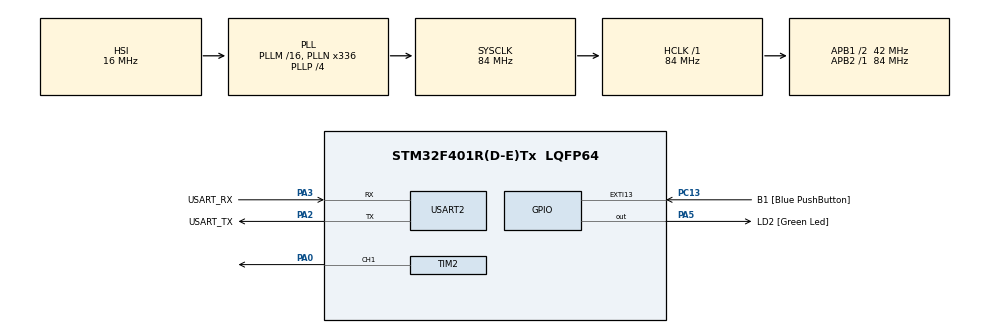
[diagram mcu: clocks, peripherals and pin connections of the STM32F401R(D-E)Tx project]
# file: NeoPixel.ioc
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Dma.Request0=TIM2_CH1
Dma.TIM2_CH1.0.Direction=DMA_MEMORY_TO_PERIPH
Dma.TIM2_CH1.0.FIFOMode=DMA_FIFOMODE_DISABLE
Dma.TIM2_CH1.0.Instance=DMA1_Stream5
Dma.TIM2_CH1.0.MemDataAlignment=DMA_MDATAALIGN_WORD
Dma.TIM2_CH1.0.MemInc=DMA_MINC_ENABLE
Dma.TIM2_CH1.0.Mode=DMA_NORMAL
Dma.TIM2_CH1.0.PeriphDataAlignment=DMA_PDATAALIGN_WORD
Dma.TIM2_CH1.0.PeriphInc=DMA_PINC_DISABLE
Dma.TIM2_CH1.0.Priority=DMA_PRIORITY_HIGH
Mcu.Family=STM32F4
Mcu.Name=STM32F401R(D-E)Tx
Mcu.Package=LQFP64
NVIC.DMA1_Stream5_IRQn=true\:0\:0\:false\:false\:true\:false\:true
NVIC.PriorityGroup=NVIC_PRIORITYGROUP_0
PA0-WKUP.Signal=S_TIM2_CH1_ETR
PA13.GPIO_Label=TMS
PA13.Mode=Serial_Wire
PA13.Signal=SYS_JTMS-SWDIO
PA14.GPIO_Label=TCK
PA14.Mode=Serial_Wire
PA14.Signal=SYS_JTCK-SWCLK
PA2.GPIO_Label=USART_TX
PA2.GPIO_Mode=GPIO_MODE_AF_PP
PA2.GPIO_PuPd=GPIO_NOPULL
PA2.GPIO_Speed=GPIO_SPEED_FREQ_LOW
PA2.Mode=Asynchronous
PA2.Signal=USART2_TX
PA3.GPIO_Label=USART_RX
PA3.GPIO_Mode=GPIO_MODE_AF_PP
PA3.GPIO_PuPd=GPIO_NOPULL
PA3.GPIO_Speed=GPIO_SPEED_FREQ_LOW
PA3.Mode=Asynchronous
PA3.Signal=USART2_RX
PA5.GPIO_Label=LD2 [Green Led]
PA5.GPIO_Mode=GPIO_MODE_OUTPUT_PP
PA5.GPIO_PuPd=GPIO_NOPULL
PA5.GPIO_Speed=GPIO_SPEED_FREQ_LOW
PA5.Signal=GPIO_Output
PB3.GPIO_Label=SWO
PB3.Signal=SYS_JTDO-SWO
PC13-ANTI_TAMP.GPIO_Label=B1 [Blue PushButton]
PC13-ANTI_TAMP.GPIO_ModeDefaultEXTI=GPIO_MODE_IT_FALLING
PC13-ANTI_TAMP.GPIO_PuPd=GPIO_NOPULL
PC13-ANTI_TAMP.Signal=GPXTI13
PC14-OSC32_IN.Mode=LSE-External-Oscillator
PC14-OSC32_IN.Signal=RCC_OSC32_IN
PC15-OSC32_OUT.Mode=LSE-External-Oscillator
PC15-OSC32_OUT.Signal=RCC_OSC32_OUT
PH0\ -\ OSC_IN.Mode=HSE-External-Clock-Source
PH0\ -\ OSC_IN.Signal=RCC_OSC_IN
PH1\ -\ OSC_OUT.Mode=HSE-External-Clock-Source
PH1\ -\ OSC_OUT.Signal=RCC_OSC_OUT
ProjectManager.HeapSize=0x200
ProjectManager.StackSize=0x400
ProjectManager.TargetToolchain=STM32CubeIDE
RCC.48MHZClocksFreq_Value=48000000
RCC.AHBFreq_Value=84000000
RCC.APB1CLKDivider=RCC_HCLK_DIV2
RCC.APB1Freq_Value=42000000
RCC.APB1TimFreq_Value=84000000
RCC.APB2Freq_Value=84000000
RCC.APB2TimFreq_Value=84000000
RCC.CortexFreq_Value=84000000
RCC.HCLKFreq_Value=84000000
RCC.HSE_VALUE=8000000
RCC.HSI_VALUE=16000000
RCC.PLLN=336
RCC.PLLP=RCC_PLLP_DIV4
RCC.PLLQ=7
RCC.SYSCLKFreq_VALUE=84000000
RCC.SYSCLKSource=RCC_SYSCLKSOURCE_PLLCLK
RCC.VCOOutputFreq_Value=336000000
SH.S_TIM2_CH1_ETR.0=TIM2_CH1,PWM Generation1 CH1
TIM2.Channel-PWM\ Generation1\ CH1=TIM_CHANNEL_1
TIM2.Period=105-1
USART2.VirtualMode=VM_ASYNC
board=NUCLEO-F401RE

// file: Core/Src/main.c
/* USER CODE BEGIN Header */
/**
  ******************************************************************************
  * @file           : main.c
  * @brief          : Main program body
  ******************************************************************************
  * @attention
  *
  * <h2><center>&copy; Copyright (c) 2021 STMicroelectronics.
  * All rights reserved.</center></h2>
  *
  * This software component is licensed by ST under BSD 3-Clause license,
  * the "License"; You may not use this file except in compliance with the
  * License. You may obtain a copy of the License at:
  *                        opensource.org/licenses/BSD-3-Clause
  *
  ******************************************************************************
  */
/* USER CODE END Header */
#include "main.h"

/* USER CODE BEGIN Includes */
#include "neoPixel.h"
/* USER CODE END Includes */

TIM_HandleTypeDef htim2;
DMA_HandleTypeDef hdma_tim2_ch1;

UART_HandleTypeDef huart2;

void SystemClock_Config(void);
static void MX_GPIO_Init(void);
static void MX_DMA_Init(void);
static void MX_USART2_UART_Init(void);
static void MX_TIM2_Init(void);
/* USER CODE BEGIN PFP */
uint32_t hsl_to_rgb(uint8_t h, uint8_t s, uint8_t l);
/* USER CODE END PFP */

int main(void)
{

  /* MCU Configuration--------------------------------------------------------*/

  /* Reset of all peripherals, Initializes the Flash interface and the Systick. */
  HAL_Init();

  /* Configure the system clock */
  SystemClock_Config();

  /* Initialize all configured peripherals */
  MX_GPIO_Init();
  MX_DMA_Init();
  MX_USART2_UART_Init();
  MX_TIM2_Init();
  /* USER CODE BEGIN 2 */
  set_RGB(1,255,0,255);
  /* USER CODE END 2 */

  /* Infinite loop */
  /* USER CODE BEGIN WHILE */
  uint8_t angle = 0;
  const uint8_t angle_difference = 11;

  while (1)
  {
    /* USER CODE END WHILE */

    /* USER CODE BEGIN 3 */
	for(uint8_t i = 0; i < 3; i++) {
		// Calculate color
		uint32_t rgb_color = hsl_to_rgb(angle + (i * angle_difference), 255, 127);
		// Set color
		set_RGB(i, (rgb_color >> 16) & 0xFF, (rgb_color >> 8) & 0xFF, rgb_color & 0xFF);
	}
	// Write to LED
	++angle;
	renderPixels();
	// Some delay
	HAL_Delay(10);
  }
  /* USER CODE END 3 */
}

void SystemClock_Config(void)
{
  RCC_OscInitTypeDef RCC_OscInitStruct = {0};
  RCC_ClkInitTypeDef RCC_ClkInitStruct = {0};

  /** Configure the main internal regulator output voltage
  */
  __HAL_RCC_PWR_CLK_ENABLE();
  __HAL_PWR_VOLTAGESCALING_CONFIG(PWR_REGULATOR_VOLTAGE_SCALE2);
  /** Initializes the RCC Oscillators according to the specified parameters
  * in the RCC_OscInitTypeDef structure.
  */
  RCC_OscInitStruct.OscillatorType = RCC_OSCILLATORTYPE_HSI;
  RCC_OscInitStruct.HSIState = RCC_HSI_ON;
  RCC_OscInitStruct.HSICalibrationValue = RCC_HSICALIBRATION_DEFAULT;
  RCC_OscInitStruct.PLL.PLLState = RCC_PLL_ON;
  RCC_OscInitStruct.PLL.PLLSource = RCC_PLLSOURCE_HSI;
  RCC_OscInitStruct.PLL.PLLM = 16;
  RCC_OscInitStruct.PLL.PLLN = 336;
  RCC_OscInitStruct.PLL.PLLP = RCC_PLLP_DIV4;
  RCC_OscInitStruct.PLL.PLLQ = 7;
  if (HAL_RCC_OscConfig(&RCC_OscInitStruct) != HAL_OK)
  {
    Error_Handler();
  }
  /** Initializes the CPU, AHB and APB buses clocks
  */
  RCC_ClkInitStruct.ClockType = RCC_CLOCKTYPE_HCLK|RCC_CLOCKTYPE_SYSCLK
                              |RCC_CLOCKTYPE_PCLK1|RCC_CLOCKTYPE_PCLK2;
  RCC_ClkInitStruct.SYSCLKSource = RCC_SYSCLKSOURCE_PLLCLK;
  RCC_ClkInitStruct.AHBCLKDivider = RCC_SYSCLK_DIV1;
  RCC_ClkInitStruct.APB1CLKDivider = RCC_HCLK_DIV2;
  RCC_ClkInitStruct.APB2CLKDivider = RCC_HCLK_DIV1;

  if (HAL_RCC_ClockConfig(&RCC_ClkInitStruct, FLASH_LATENCY_2) != HAL_OK)
  {
    Error_Handler();
  }
}

static void MX_TIM2_Init(void)
{

  TIM_MasterConfigTypeDef sMasterConfig = {0};
  TIM_OC_InitTypeDef sConfigOC = {0};

  htim2.Instance = TIM2;
  htim2.Init.Prescaler = 0;
  htim2.Init.CounterMode = TIM_COUNTERMODE_UP;
  htim2.Init.Period = 105-1;
  htim2.Init.ClockDivision = TIM_CLOCKDIVISION_DIV1;
  htim2.Init.AutoReloadPreload = TIM_AUTORELOAD_PRELOAD_DISABLE;
  if (HAL_TIM_PWM_Init(&htim2) != HAL_OK)
  {
    Error_Handler();
  }
  sMasterConfig.MasterOutputTrigger = TIM_TRGO_RESET;
  sMasterConfig.MasterSlaveMode = TIM_MASTERSLAVEMODE_DISABLE;
  if (HAL_TIMEx_MasterConfigSynchronization(&htim2, &sMasterConfig) != HAL_OK)
  {
    Error_Handler();
  }
  sConfigOC.OCMode = TIM_OCMODE_PWM1;
  sConfigOC.Pulse = 0;
  sConfigOC.OCPolarity = TIM_OCPOLARITY_HIGH;
  sConfigOC.OCFastMode = TIM_OCFAST_DISABLE;
  if (HAL_TIM_PWM_ConfigChannel(&htim2, &sConfigOC, TIM_CHANNEL_1) != HAL_OK)
  {
    Error_Handler();
  }
  HAL_TIM_MspPostInit(&htim2);

}

static void MX_USART2_UART_Init(void)
{

  huart2.Instance = USART2;
  huart2.Init.BaudRate = 115200;
  huart2.Init.WordLength = UART_WORDLENGTH_8B;
  huart2.Init.StopBits = UART_STOPBITS_1;
  huart2.Init.Parity = UART_PARITY_NONE;
  huart2.Init.Mode = UART_MODE_TX_RX;
  huart2.Init.HwFlowCtl = UART_HWCONTROL_NONE;
  huart2.Init.OverSampling = UART_OVERSAMPLING_16;
  if (HAL_UART_Init(&huart2) != HAL_OK)
  {
    Error_Handler();
  }

}

static void MX_DMA_Init(void)
{

  /* DMA controller clock enable */
  __HAL_RCC_DMA1_CLK_ENABLE();

  /* DMA interrupt init */
  /* DMA1_Stream5_IRQn interrupt configuration */
  HAL_NVIC_SetPriority(DMA1_Stream5_IRQn, 0, 0);
  HAL_NVIC_EnableIRQ(DMA1_Stream5_IRQn);

}

static void MX_GPIO_Init(void)
{
  GPIO_InitTypeDef GPIO_InitStruct = {0};

  /* GPIO Ports Clock Enable */
  __HAL_RCC_GPIOC_CLK_ENABLE();
  __HAL_RCC_GPIOH_CLK_ENABLE();
  __HAL_RCC_GPIOA_CLK_ENABLE();
  __HAL_RCC_GPIOB_CLK_ENABLE();

  /*Configure GPIO pin Output Level */
  HAL_GPIO_WritePin(LD2_GPIO_Port, LD2_Pin, GPIO_PIN_RESET);

  /*Configure GPIO pin : B1_Pin */
  GPIO_InitStruct.Pin = B1_Pin;
  GPIO_InitStruct.Mode = GPIO_MODE_IT_FALLING;
  GPIO_InitStruct.Pull = GPIO_NOPULL;
  HAL_GPIO_Init(B1_GPIO_Port, &GPIO_InitStruct);

  /*Configure GPIO pin : LD2_Pin */
  GPIO_InitStruct.Pin = LD2_Pin;
  GPIO_InitStruct.Mode = GPIO_MODE_OUTPUT_PP;
  GPIO_InitStruct.Pull = GPIO_NOPULL;
  GPIO_InitStruct.Speed = GPIO_SPEED_FREQ_LOW;
  HAL_GPIO_Init(LD2_GPIO_Port, &GPIO_InitStruct);

}

/* USER CODE BEGIN 4 */
// Fast hsl2rgb algorithm: https://stackoverflow.com/questions/13105185/fast-algorithm-for-rgb-hsl-conversion
uint32_t hsl_to_rgb(uint8_t h, uint8_t s, uint8_t l) {
	if(l == 0) return 0;

	volatile uint8_t  r, g, b, lo, c, x, m;
	volatile uint16_t h1, l1, H;
	l1 = l + 1;
	if (l < 128)    c = ((l1 << 1) * s) >> 8;
	else            c = (512 - (l1 << 1)) * s >> 8;

	H = h * 6;              // 0 to 1535 (actually 1530)
	lo = H & 255;           // Low byte  = primary/secondary color mix
	h1 = lo + 1;

	if ((H & 256) == 0)   x = h1 * c >> 8;          // even sextant, like red to yellow
	else                  x = (256 - h1) * c >> 8;  // odd sextant, like yellow to green

	m = l - (c >> 1);
	switch(H >> 8) {       // High byte = sextant of colorwheel
	 case 0 : r = c; g = x; b = 0; break; // R to Y
	 case 1 : r = x; g = c; b = 0; break; // Y to G
	 case 2 : r = 0; g = c; b = x; break; // G to C
	 case 3 : r = 0; g = x; b = c; break; // C to B
	 case 4 : r = x; g = 0; b = c; break; // B to M
	 default: r = c; g = 0; b = x; break; // M to R
	}

	return (((uint32_t)r + m) << 16) | (((uint32_t)g + m) << 8) | ((uint32_t)b + m);
}
/* USER CODE END 4 */

void Error_Handler(void)
{
  __disable_irq();
  while (1)
  {
  }
}

/************************ (C) COPYRIGHT STMicroelectronics *****END OF FILE****/
